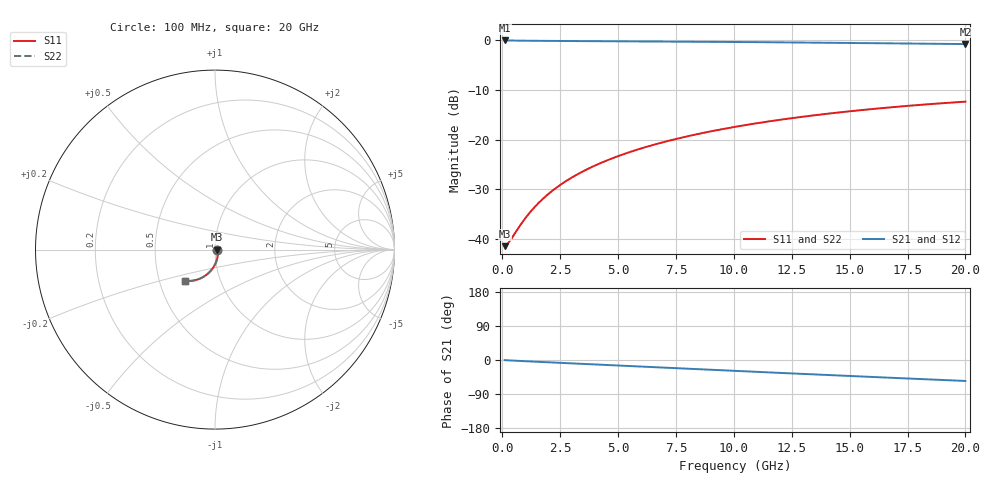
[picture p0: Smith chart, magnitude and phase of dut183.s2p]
! Touchstone file exported from HFSS 2026.1.0
!  File:  C:/ffzhzh/LocalFiles/Ansys_Project_Files/temp_train_BSMRDL_183_1782987211_42984.aedt
!  Generated:  06:16:50 PM Jul  2, 2026
!  Design:  BSMRDL
!  Project:  temp_train_BSMRDL_183_1782987211_42984
! Variables:
!  h_bsmrdl = 2.48um
!  h_ox = 20um
!  h_rdl = 5um
!  h_sub = 80um
!  h_tmrdl = 5um
!  h_tsv = 80um
!  h_via = 3um
!  l_bsmrdl = 926.29um
!  l_sub = 1326.29um
!  l_tmrdl = 200um
!  m_sub = 200um
!  pitch = 16.98um
!  r_tsv = 6um
!  s_tmrdl = 10um
!  w_bsmrdl = 15.85um
!  w_sub = 500um
!  w_tmrdl = 12um
!  x_tsv_center1 = 206um
!  x_tsv_center2 = 1148.14um
!  x_tsv_center3 = 1360.14um
!  x_tsv_center4 = 2302.28um
!  x_tsv_center5 = 2514.28um
!  x_tsv_center6 = 3456.42um
# GHz S MA R 50.000000
! Terminal data exported
! Port[1] = BSM_RDL1_1_T1
! Port[2] = BSM_RDL1_1_T2
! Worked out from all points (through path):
!   200 points, 100 MHz to 20 GHz, reference 50 ohm
!   highest |S21| = -0.07 dB at 100 MHz (marker M1); lowest = -0.8 dB at 20 GHz (marker M2)
!   group delay of S21, straight-line fit = 7.65 ps
!   lowest |S11| = -41.4 dB at 100 MHz (marker M3), VSWR 1.02, Z = 50.9 - j0.019 ohm
!   |S11| at or under -10 dB: start of sweep to end of sweep
!   |S22| runs from -41.4 to -12.4 dB; largest |S21 - S12| = 3.9e-15
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0.1  0.008509 -1.3  0.9915 -0.4  0.9915 -0.4  0.008509 -1.3
! Gamma 0 0 0 0
! Port Impedance 50 0 50 0
0.2  0.008874 -2.9  0.9911 -0.7  0.9911 -0.7  0.008874 -2.9
0.3  0.009444 -5.2  0.9906 -1.1  0.9906 -1.1  0.009444 -5.2
0.8  0.01407 -23.0  0.9868 -2.6  0.9868 -2.6  0.01406 -23.0
1.1  0.01747 -33.7  0.9849 -3.5  0.9849 -3.5  0.01747 -33.7
1.4  0.02106 -42.7  0.9834 -4.4  0.9834 -4.4  0.02106 -42.7
1.7  0.02478 -50.0  0.9822 -5.2  0.9822 -5.2  0.02478 -50.0
2.1  0.02986 -57.6  0.981 -6.3  0.981 -6.3  0.02985 -57.6
2.5  0.03503 -63.6  0.98 -7.5  0.98 -7.5  0.03503 -63.6
3  0.04159 -69.5  0.9788 -8.9  0.9788 -8.9  0.04159 -69.5
3.5  0.04822 -74.2  0.9777 -10.3  0.9777 -10.3  0.04821 -74.2
4.2  0.05756 -79.5  0.976 -12.3  0.976 -12.3  0.05755 -79.5
5  0.06827 -84.4  0.974 -14.5  0.974 -14.5  0.06827 -84.4
5.9  0.08031 -89.1  0.9716 -17.1  0.9716 -17.1  0.0803 -89.1
6.8  0.09228 -93.1  0.969 -19.6  0.969 -19.6  0.09227 -93.1
8.4  0.1133 -99.4  0.9637 -24.1  0.9637 -24.1  0.1133 -99.4
10.1  0.135 -105.2  0.9574 -28.8  0.9574 -28.8  0.135 -105.3
11.7  0.1547 -110.4  0.9508 -33.3  0.9508 -33.3  0.1547 -110.4
13.4  0.1748 -115.5  0.9432 -37.9  0.9432 -37.9  0.1748 -115.5
15  0.1927 -120.1  0.9358 -42.2  0.9358 -42.2  0.1926 -120.2
16.7  0.2104 -124.9  0.9277 -46.7  0.9277 -46.7  0.2104 -124.9
20  0.2408 -133.8  0.9117 -55.3  0.9117 -55.3  0.2408 -133.9
